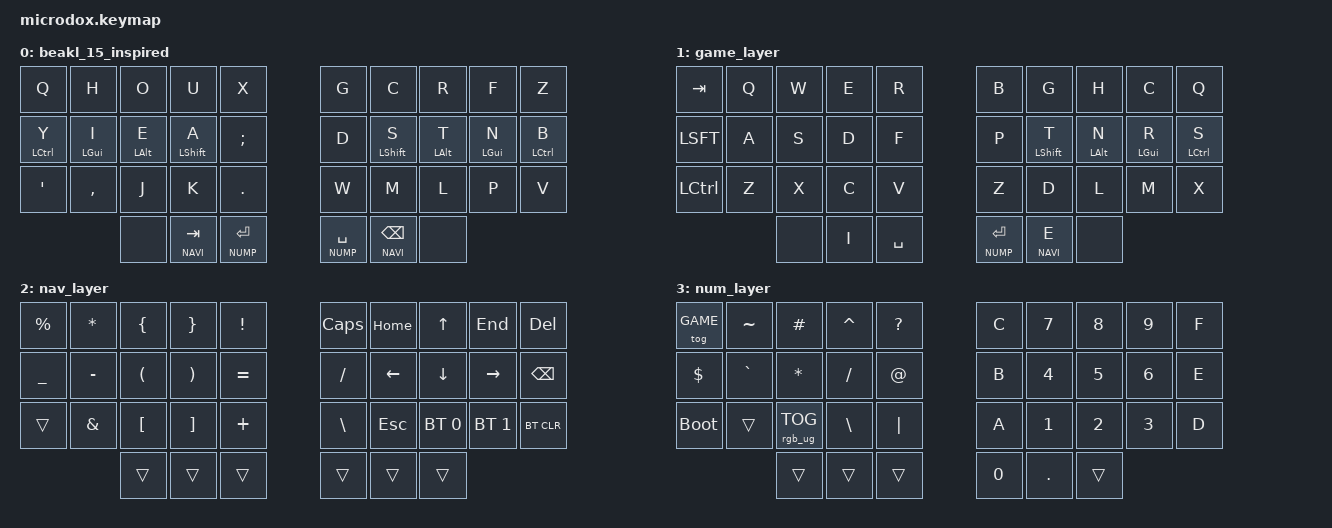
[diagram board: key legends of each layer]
/*
 * Copyright (c) 2020 The ZMK Contributors
 *
 * SPDX-License-Identifier: MIT
 */

#include <behaviors.dtsi>
#include <dt-bindings/zmk/keys.h>
#include <dt-bindings/zmk/bt.h>
#include <dt-bindings/zmk/rgb.h>

#define BASE     0 /* (HANDS DOWN LAYER) */
#define GAME     1 /* (GAME LAYER) */
#define NAVI     2 /* (NAVIGATION LAYER) */
#define NUMP     3 /* (NUMPAD LAYER) */
#define SYM1     4 /* (SYMBOL LAYER 1) */
#define SYM2     5 /* (SYMBOL LAYER 2) */

/* There are 7 layers, including the base layer */
/* Base: Hands Down */
/* Navigation:  */
/* Mouse: Not yet available in ZMK? */
/* Media:  */
/* Numerals:  */
/* Symbols:  */
/* Function and Systems: */

&lt {
        flavor = "hold-preferred";
};

/ {
        behaviors {
                hm: homerow_mods {
                compatible = "zmk,behavior-hold-tap";
                label = "HOMEROW_MODS";
                #binding-cells = <2>;
                tapping_term_ms = <175>;
                flavor = "tap-preferred";
                bindings = <&kp>, <&kp>;
                };
        };

        keymap {
                compatible = "zmk,keymap";

                // dvorak_layer {
// // -----------------------------------------------------------------------------------------
// // |  ;  |  ,  |  .  |  P  |  Y  |   |  F  |  G  |  C  |  R  |  L  |
// // |  A  |  O  |  E  |  U  |  I  |   |  D  |  H  |  T  |  N  |  S  |
// // |  '  |  Q  |  J  |  K  |  X  |   |  B  |  M  |  W  |  V  |  Z  |
// //             |     | TAB | ENT |   | BSPC| SPC |     |
                        // bindings = <
   // &kp SEMI    &kp COMMA  &kp DOT      &kp P        &kp Y          &kp F &kp G          &kp C         &kp R      &kp L
   // &hm LCTRL A &hm LGUI O &hm LALT E   &hm LSHFT U  &kp I          &kp D &hm LSHFT H    &hm LALT T    &hm LGUI N &hm LCTRL S
   // &kp APOS    &kp Q      &kp J        &kp K        &kp X          &kp B &kp M          &kp W         &kp V      &kp Z
                          // &lt NAVI TAB &lt NUMP RET &none          &none &lt NAVI SPACE &lt NUMP BSPC
                        // >;
                // };
                
                beakl_15_inspired {
// -----------------------------------------------------------------------------------------
// |  Q  |  H  |  O  |  U  |  X  |   |  G  |  C  |  R  |  F  |  Z  |
// |  Y  |  I  |  E  |  A  |  ;  |   |  D  |  S  |  T  |  N  |  B  |
// |  '  |  ,  |  J  |  K  |  .  |   |  W  |  M  |  L  |  P  |  V  |
//             | TAB | ENT |     |   |     | BSPC| SPC |
                        bindings = <
   &kp Q       &kp H      &kp O        &kp U        &kp X          &kp G          &kp C         &kp R         &kp F      &kp Z
   &hm LCTRL Y &hm LGUI I &hm LALT E   &hm LSHFT A  &kp SEMI       &kp D          &hm LSHFT S   &hm LALT T    &hm LGUI N &hm LCTRL B
   &kp APOS    &kp COMMA  &kp J        &kp K        &kp DOT        &kp W          &kp M         &kp L         &kp P      &kp V
                          &none        &lt NAVI TAB &lt NUMP RET   &lt NUMP SPACE &lt NAVI BSPC &none
                        >;
                };

                game_layer {
// -----------------------------------------------------------------------------------------
// | TAB |  Q  |  W  |  E  |  R  |   |  B  |  G  |  H  |  C  |  Q  |
// | SHFT|  A  |  S  |  D  |  F  |   |  P  |  T  |  N  |  R  |  S  |
// | CTRL|  Z  |  X  |  C  |  V  |   |  Z  |  D  |  L  |  M  |  X  |
//             |     |  I  | SPC |   | RET |  E  |     |
                        bindings = <
   &kp TAB    &kp Q  &kp W &kp E &kp R       &kp B        &kp G       &kp H      &kp C      &kp Q
   &kp LSFT   &kp A  &kp S &kp D &kp F       &kp P        &hm LSHFT T &hm LALT N &hm LGUI R &hm LCTRL S
   &kp LCTRL  &kp Z  &kp X &kp C &kp V       &kp Z        &kp D       &kp L      &kp M      &kp X
                     &none &kp I &kp SPACE   &lt NUMP RET &lt NAVI E  &none
                        >;
                };

                nav_layer {
// -----------------------------------------------------------------------------------------
// |  %  |  *  |  {  |  }  |  !  |   | CAPS| HOME |  UP  | END  | DEL  |
// |  _  |  -  |  (  |  )  |  =  |   |  /  | LEFT | DOWN | RGT  | BKSP |
// |     |  &  |  [  |  ]  |  +  |   |  \  | ESC  | BT_1 | BT_2 | BCLR |
//             |     |     |     |   |     |      |      |
                        bindings = <
   &kp PRCNT &kp STAR  &kp LBRC &kp RBRC &kp EXCL      &kp CAPS &kp HOME &kp UP       &kp END      &kp DEL
   &kp UNDER &kp MINUS &kp LPAR &kp RPAR &kp EQUAL     &kp FSLH &kp LEFT &kp DOWN     &kp RIGHT    &kp BSPC
   &trans    &kp AMPS  &kp LBKT &kp RBKT &kp PLUS      &kp BSLH &kp ESC  &bt BT_SEL 0 &bt BT_SEL 1 &bt BT_CLR
                       &trans   &trans   &trans        &trans   &trans   &trans
                        >;
                };

                num_layer {
// -----------------------------------------------------------------------------------------
// | GME |  ~  |  #  |  ^  |  ?  |   |  C  |  7  |  8  |  9  |  F  |
// |  $  |  `  |  *  |  /  |  @  |   |  B  |  4  |  5  |  6  |  E  |
// | BOOT|     |     |  \  | "|" |   |  A  |  1  |  2  |  3  |  D  |
//             |     |     |     |   |  0  |  .  |     |
                        bindings = <
   &tog GAME   &kp TILDE &kp HASH           &kp CARET &kp QMARK   &kp C  &kp N7   &kp N8  &kp N9  &kp F
   &kp DLLR    &kp GRAVE &kp STAR           &kp FSLH  &kp AT      &kp B  &kp N4   &kp N5  &kp N6  &kp E
   &bootloader &trans    &rgb_ug RGB_TOG    &kp BSLH  &kp PIPE    &kp A  &kp N1   &kp N2  &kp N3  &kp D
                         &trans             &trans    &trans      &kp N0  &kp DOT &trans
                        >;
                };
        };
};
